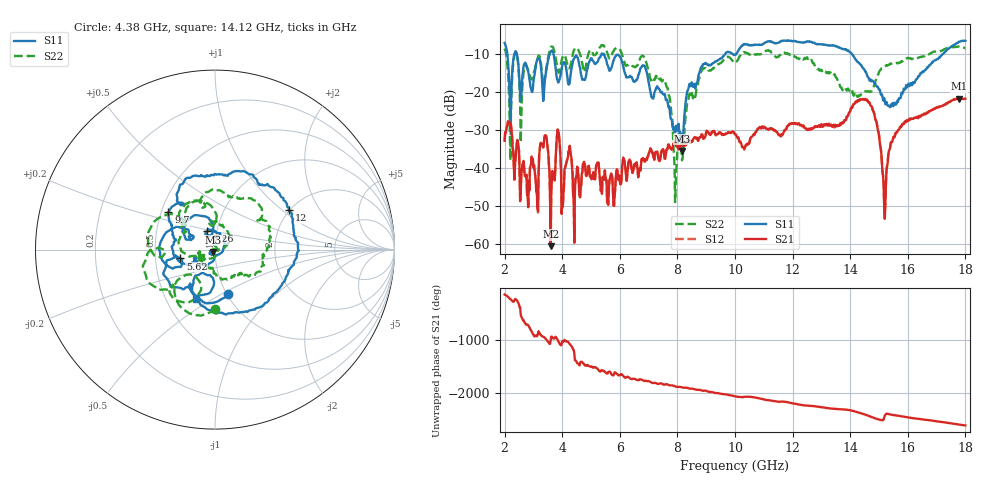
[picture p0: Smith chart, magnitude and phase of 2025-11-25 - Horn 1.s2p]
#  HZ  S  RI  R  50.00
! Rohde & Schwarz ZVA67 4Ports - Version 4.11 - 1305.7002k04 SN: 101319
! Date: 2025-11-25 18:25:52
! Measurements: S11 S21 S12 S22
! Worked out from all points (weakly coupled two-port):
!   801 points, 2 GHz to 18 GHz, reference 50 ohm
!   highest |S21| = -21.70 dB at 17.78 GHz (marker M1); lowest = -60.5 dB at 3.6 GHz (marker M2)
!   lowest |S11| = -35.4 dB at 8.16 GHz (marker M3), VSWR 1.03, Z = 49 - j1.31 ohm
!   |S11| at or under -10 dB: 3.7 GHz to 5.361 GHz (1.661 GHz wide, 36.7 % of centre); 5.453 GHz to 9.653 GHz (4.2 GHz wide, 55.6 % of centre); 14.07 GHz to 17.21 GHz (3.145 GHz wide, 20.1 % of centre) (the widest 3 of 7)
!   |S22| runs from -48.9 to -7.7 dB; largest |S21 - S12| = 0.0015
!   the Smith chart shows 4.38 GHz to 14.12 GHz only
!   S11 on the Smith chart (normalised r, x): 4.38 GHz: 1.01, -0.54; 5.62 GHz: 0.67, -0.07; 7.26 GHz: 0.89, +0.19; 9.7 GHz: 0.55, +0.26; 12 GHz: 1.98, +1.11; 14.12 GHz: 0.71, -0.43
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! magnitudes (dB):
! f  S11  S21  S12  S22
! 2 GHz  -7.0  -32.8  -32.8  -8.6
! 2.2 GHz  -29.5  -28.1  -28.1  -37.9
! 2.38 GHz  -9.2  -37.3  -37.4  -9.5
! 2.58 GHz  -20.5  -41.7  -41.4  -26.5
! 3.6 GHz  -9.3  -60.5  -60.0  -8.2
! 3.86 GHz  -17.5  -30.3  -30.2  -14.5
! 4.38 GHz  -11.7  -47.1  -47.2  -9.6
! 4.68 GHz  -16.2  -41.4  -41.4  -12.0
! 5.62 GHz  -14.0  -45.5  -45.4  -10.9
! 7.26 GHz  -19.0  -36.0  -35.9  -15.7
! 7.34 GHz  -19.1  -37.3  -37.3  -15.7
! 8.16 GHz  -35.4  -33.3  -33.4  -37.9
! 9.7 GHz  -9.6  -30.8  -30.9  -10.9
! 10 GHz  -10.2  -31.2  -31.1  -12.3
! 12 GHz  -6.6  -28.2  -28.3  -10.4
! 12.68 GHz  -6.9  -29.6  -29.7  -12.0
! 14.12 GHz  -10.6  -23.1  -23.2  -20.9
! 14.76 GHz  -17.0  -24.0  -24.0  -19.4
! 15.18 GHz  -21.6  -49.9  -49.4  -13.2
! 15.34 GHz  -23.6  -35.6  -35.5  -12.8
! 17.78 GHz  -6.8  -21.7  -21.6  -8.0
! 18 GHz  -6.5  -21.7  -21.7  -8.5
